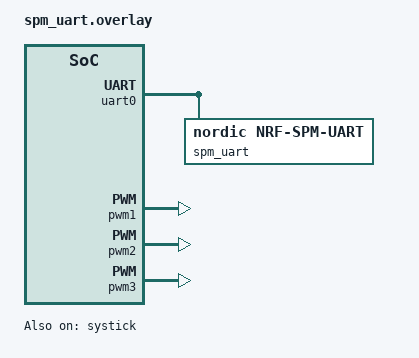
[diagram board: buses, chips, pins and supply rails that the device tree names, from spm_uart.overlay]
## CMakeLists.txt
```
#
# Copyright (c) 2019 Nordic Semiconductor ASA
#
# SPDX-License-Identifier: LicenseRef-Nordic-5-Clause
#
cmake_minimum_required(VERSION 3.20.0)

find_package(Zephyr REQUIRED HINTS $ENV{ZEPHYR_BASE})
project(NONE)

zephyr_include_directories(
  kernel/include
  ${ARCH_DIR}/${ARCH}/include
)

zephyr_compile_options(-Wno-deprecated-declarations)

zephyr_library_sources(src/main.c)
```

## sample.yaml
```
sample:
  name: spm Sample
tests:
  sample.spm:
    build_only: true
    integration_platforms:
      - nrf5340dk_nrf5340_cpuapp
      - nrf9160dk_nrf9160
    platform_allow: nrf5340dk_nrf5340_cpuapp nrf9160dk_nrf9160
    tags: ci_build
  sample.spm_shared_uart:
    build_only: true
    extra_args: DTC_OVERLAY_FILE="spm_uart.overlay"
    extra_configs:
      - CONFIG_SPM_SHARE_CONSOLE_UART=y
    integration_platforms:
      - nrf5340dk_nrf5340_cpuapp
      - nrf9160dk_nrf9160
    platform_allow: nrf5340dk_nrf5340_cpuapp nrf9160dk_nrf9160
    tags: ci_build
```

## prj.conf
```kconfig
#
# Copyright (c) 2019 Nordic Semiconductor ASA
#
# SPDX-License-Identifier: LicenseRef-Nordic-5-Clause
#
CONFIG_NCS_SAMPLES_DEFAULTS=y

CONFIG_IS_SPM=y
CONFIG_FW_INFO=y
CONFIG_GPIO=n
CONFIG_MAIN_STACK_SIZE=4096

# Images that set CONFIG_BOOTLOADER_MCUBOOT get this value set by default.
# The SPM image will not have CONFIG_BOOTLOADER_MCUBOOT set by default when
# being built by a parent image. Hence we set it here to ensure that SPM
# cleans up the core during boot.
CONFIG_INIT_ARCH_HW_AT_BOOT=y

# Avoid using feature that allocates PPI channels
CONFIG_UART_0_ENHANCED_POLL_OUT=n
CONFIG_UART_1_ENHANCED_POLL_OUT=n

# RTC1 is configured as Non-Secure by default, hence it cannot be used as
# the source for the system clock driver. Use the Cortex-M SYSTICK driver
# instead.
CONFIG_NRF_RTC_TIMER=n
CONFIG_CORTEX_M_SYSTICK=y
```

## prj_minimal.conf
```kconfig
#
# Copyright (c) 2021 Nordic Semiconductor ASA
#
# SPDX-License-Identifier: LicenseRef-Nordic-5-Clause
#

# Configurations needed for SPM sample to operate correctly.
CONFIG_IS_SPM=y
CONFIG_FW_INFO=y
CONFIG_MAIN_STACK_SIZE=4096
CONFIG_INIT_ARCH_HW_AT_BOOT=y

# SPM specific optimizations
CONFIG_SPM_MIN_PARTITION_SIZE=y
CONFIG_SPM_BOOT_SILENTLY=y

# General options to reduce code size
CONFIG_ARM_MPU=n
CONFIG_ASSERT=n
CONFIG_BOOT_BANNER=n
CONFIG_CONSOLE=n
CONFIG_ERRNO=n
CONFIG_GEN_IRQ_VECTOR_TABLE=n
CONFIG_GPIO=n
CONFIG_KERNEL_MEM_POOL=n
CONFIG_LOG=n
CONFIG_MULTITHREADING=n
CONFIG_NCS_SAMPLES_DEFAULTS=n
CONFIG_NRF_ENABLE_ICACHE=n
CONFIG_PRINTK=n
CONFIG_RESET_ON_FATAL_ERROR=n
CONFIG_SECURE_BOOT_DEBUG=n
CONFIG_SERIAL=n
CONFIG_SYS_CLOCK_EXISTS=n
CONFIG_PM=n
CONFIG_TICKLESS_KERNEL=n
CONFIG_TIMEOUT_64BIT=n
CONFIG_UART_CONSOLE=n   # Set explicitly to 'n' to avoid Kconfig warning
CONFIG_USE_SEGGER_RTT=n
```

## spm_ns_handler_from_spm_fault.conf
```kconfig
#
# Copyright (c) 2021 Nordic Semiconductor ASA
#
# SPDX-License-Identifier: LicenseRef-Nordic-5-Clause
#

# Set of options applied to SPM when CONFIG_SPM_SERVICE_NS_HANDLER_FROM_SPM_FAULT
# is enabled in non-secure application.

# When enabled, spm can print to UARTE0 even after switching to non-secure, e.g.
# from secure fault handler.
CONFIG_SPM_SHARE_CONSOLE_UART=y

# When enabled, spm, in fault handler, will call non-secure fatal error handler.
CONFIG_SPM_SERVICE_NS_HANDLER_FROM_SPM_FAULT=y
CONFIG_SPM_SECURE_SERVICES=y
```

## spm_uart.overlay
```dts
/* SPDX-License-Identifier: LicenseRef-Nordic-5-Clause */

/ {
	chosen {
		zephyr,console = &spm_uart;
	};
};

&uart0 {
	status = "okay";

	spm_uart: nrf-spm-uart {
		compatible = "nordic,nrf-spm-uart";
		status = "okay";
	};
};

&systick {
	status = "okay";
};

/* This is a workaround for a problem that it's not possible to merge
 * board-specific and DTC_OVERLAY_FILE defined overlays. Originally PWM was
 * only enabled for nrf9160dk_nrf9160, but since enabling it only for that board
 * would make spm_uart overlay selection problematic.
 */
&pwm1 {
	status = "okay";
};

&pwm2 {
	status = "okay";
};

&pwm3 {
	status = "okay";
};
```

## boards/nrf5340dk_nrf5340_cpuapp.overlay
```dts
&systick {
	status = "okay";
};
```

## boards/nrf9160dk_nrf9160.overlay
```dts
&systick {
	status = "okay";
};

/* Needed to get NRF_PWMn defined. */
&pwm1 {
	status = "okay";
};

&pwm2 {
	status = "okay";
};

&pwm3 {
	status = "okay";
};
```

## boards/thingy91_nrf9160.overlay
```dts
/* SPDX-License-Identifier: LicenseRef-Nordic-5-Clause */

&uart0 {
	status = "okay";
	/delete-property/ rx-pin;

	spm_uart: nrf-spm-uart {
		compatible = "nordic,nrf-spm-uart";
		status = "okay";
		label = "SPM_UART";
	};
};

&uart1 {
	/delete-property/ rx-pin;
};
```

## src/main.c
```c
/*
 * Copyright (c) 2018 Nordic Semiconductor ASA.
 *
 * SPDX-License-Identifier: LicenseRef-Nordic-5-Clause
 */

#include <spm.h>

/*
 * Example code for a Secure Partition Manager application.
 * The application uses the SPM to set the security attributions of
 * the MCU resources (Flash, SRAM and Peripherals). It uses the core
 * TrustZone-M API to prepare the MCU to jump into Non-Secure firmware
 * execution.
 *
 * The following security configuration for Flash and SRAM is applied:
 *
 *                FLASH
 *  1 MB  |---------------------|
 *        |                     |
 *        |                     |
 *        |                     |
 *        |                     |
 *        |                     |
 *        |     Non-Secure      |
 *        |       Flash         |
 *        |                     |
 * 256 kB |---------------------|
 *        |                     |
 *        |     Secure          |
 *        |      Flash          |
 *  0 kB  |---------------------|
 *
 *
 *                SRAM
 * 256 kB |---------------------|
 *        |                     |
 *        |                     |
 *        |                     |
 *        |     Non-Secure      |
 *        |    SRAM (image)     |
 *        |                     |
 * 128 kB |.................... |
 *        |     Non-Secure      |
 *        |  SRAM (BSD Library) |
 *  64 kB |---------------------|
 *        |      Secure         |
 *        |       SRAM          |
 *  0 kB  |---------------------|
 */


void main(void)
{
	spm_config();
	spm_jump();
}
```
